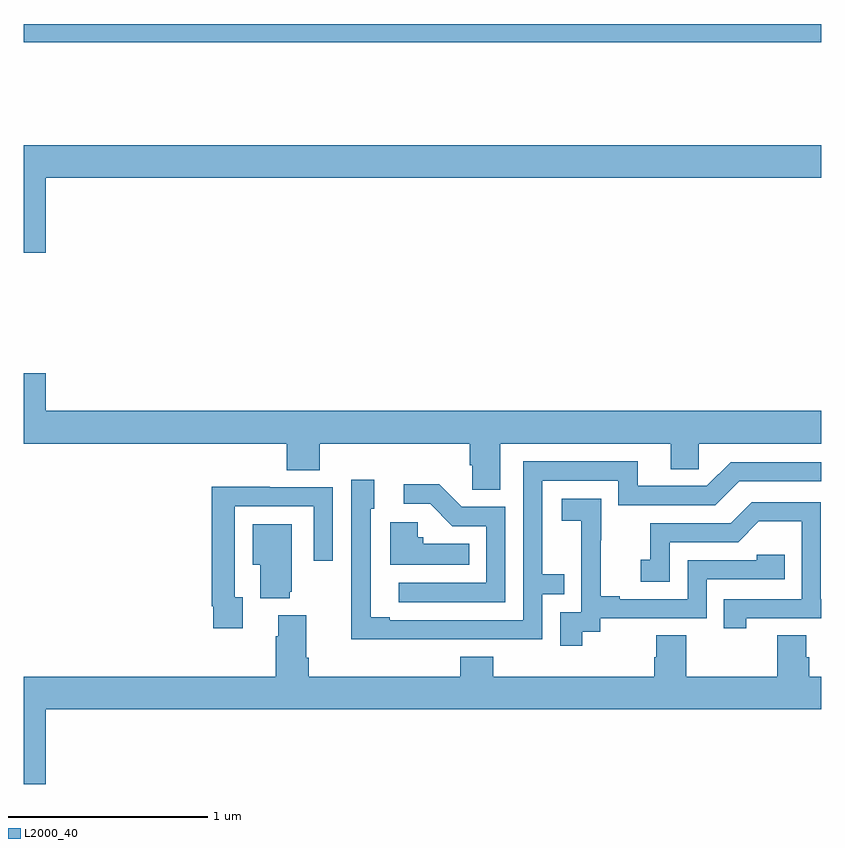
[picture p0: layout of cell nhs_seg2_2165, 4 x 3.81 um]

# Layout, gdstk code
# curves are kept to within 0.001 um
import gdstk
lib = gdstk.Library(unit=1e-6, precision=1e-09)
def R(c, l, rs):  # rectangles x0, y0, x1, y1
    for r in rs: c.add(gdstk.rectangle(r[:2], r[2:], *l))
def P(c, l, *ps):  # polygons
    for p in ps: c.add(gdstk.Polygon(p, *l))
L2000_40 = (2000, 40)

nhs_seg2_2165 = lib.new_cell('nhs_seg2_2165')
R(nhs_seg2_2165, L2000_40, [(225,589.708,229,589.8)])
P(nhs_seg2_2165, L2000_40, [(225.112,589.028),(229,589.028),(229,589.192),(225,589.192),(225,588.654),(225.112,588.654)],
  [(227.389,587.696),(228.245,587.696),(228.245,587.569),(228.384,587.569),(228.384,587.696),(229,587.696),(229,587.86),(225.112,587.86),(225.112,588.049),(225,588.049),(225,587.696),(226.319,587.696),(226.319,587.563),(226.484,587.563),(226.484,587.696),(227.237,587.696),(227.237,587.587),(227.25,587.587),(227.25,587.464),(227.389,587.464)],
  [(227.105,586.716),(227.601,586.716),(227.601,586.941),(227.711,586.941),(227.711,587.042),(227.601,587.042),(227.601,587.511),(227.982,587.511),(227.982,587.388),(228.468,587.388),(228.588,587.508),(229,587.508),(229,587.604),(228.546,587.604),(228.426,587.484),(228.079,587.484),(228.079,587.607),(227.505,587.607),(227.505,586.812),(226.837,586.812),(226.837,586.825),(226.74,586.825),(226.74,587.37),(226.759,587.37),(226.759,587.515),(226.644,587.515),(226.644,587.021),(226.642,587.021),(226.642,586.715)],
  [(227.415,587.379),(227.196,587.379),(227.083,587.492),(226.905,587.492),(226.905,587.394),(227.039,587.394),(227.15,587.283),(227.319,587.283),(227.319,586.998),(226.881,586.998),(226.881,586.902),(227.415,586.902)],
  [(226.099,586.926),(226.059,586.926),(226.059,587.382),(226.455,587.382),(226.455,587.109),(226.551,587.109),(226.551,587.478),(226.235,587.478),(226.235,587.48),(225.943,587.48),(225.943,586.882),(225.951,586.882),(225.951,586.77),(226.099,586.77)],
  [(227.8,586.753),(227.892,586.753),(227.892,586.821),(228.426,586.821),(228.426,587.016),(228.815,587.016),(228.815,587.139),(228.675,587.139),(228.675,587.112),(228.33,587.112),(228.33,586.917),(227.989,586.917),(227.989,586.93),(227.894,586.93),(227.894,587.213),(227.895,587.213),(227.895,587.419),(227.697,587.419),(227.697,587.309),(227.795,587.309),(227.795,587.081),(227.796,587.081),(227.796,586.851),(227.691,586.851),(227.691,586.683),(227.8,586.683)],
  [(228.622,586.821),(229,586.821),(229,586.917),(228.996,586.917),(228.996,587.403),(228.65,587.403),(228.545,587.298),(228.142,587.298),(228.142,587.113),(228.093,587.113),(228.093,587.004),(228.24,587.004),(228.24,587.202),(228.582,587.202),(228.686,587.306),(228.9,587.306),(228.9,586.917),(228.511,586.917),(228.511,586.77),(228.622,586.77)],
  [(227.234,587.194),(227.004,587.194),(227.004,587.226),(226.977,587.226),(226.977,587.302),(226.838,587.302),(226.838,587.09),(227.234,587.09)],
  [(226.334,586.953),(226.345,586.953),(226.345,587.293),(226.148,587.293),(226.148,587.09),(226.187,587.09),(226.187,586.922),(226.334,586.922)],
  [(225.112,586.364),(229,586.364),(229,586.528),(228.938,586.528),(228.938,586.626),(228.925,586.626),(228.925,586.736),(228.778,586.736),(228.778,586.528),(228.321,586.528),(228.321,586.736),(228.173,586.736),(228.173,586.626),(228.161,586.626),(228.161,586.528),(227.354,586.528),(227.354,586.627),(227.189,586.627),(227.189,586.528),(226.43,586.528),(226.43,586.624),(226.417,586.624),(226.417,586.837),(226.277,586.837),(226.277,586.73),(226.265,586.73),(226.265,586.528),(225,586.528),(225,585.99),(225.112,585.99)])

lib.write_gds('nhs_seg2_2165.gds')
